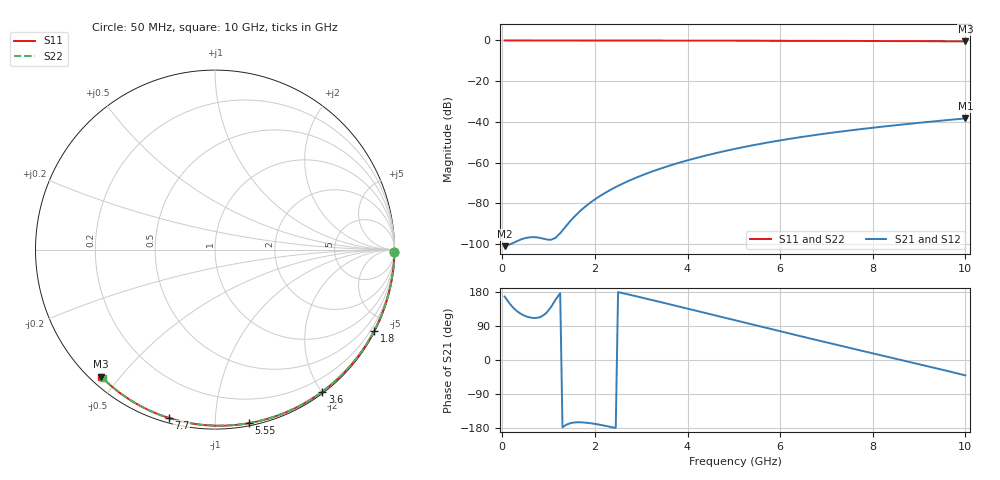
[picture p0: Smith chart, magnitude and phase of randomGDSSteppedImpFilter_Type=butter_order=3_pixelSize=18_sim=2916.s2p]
! freq	dB(S11)	phase(S11)	dB(S12)	phase(S12)
!  dB(S21)	phase(S21)	dB(S22)	phase(S22)
!S-par simulation data
#  GHz  S  DB  R 50
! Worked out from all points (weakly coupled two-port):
!   200 points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, 50 MHz to 10 GHz, reference 50 ohm
!   highest |S21| = -38.29 dB at 10 GHz (marker M1); lowest = -101.0 dB at 50 MHz (marker M2)
!   lowest |S11| = -0.4 dB at 10 GHz (marker M3), VSWR 39.29, Z = 1.53 - j22.3 ohm
!   |S11| at or under -10 dB: nowhere
!   |S22| runs from -0.4 to 0.0 dB; largest |S21 - S12| = 0
!   S11 on the Smith chart (normalised r, x): 50 MHz: open; 1.8 GHz: 0.04, -4.16; 3.6 GHz: 0.02, -2.01; 5.55 GHz: 0.02, -1.21; 7.7 GHz: 0.02, -0.76; 10 GHz: 0.03, -0.45
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0.05  -0.00 -0.8  -100.99 167.5  -100.99 167.5  -0.00 -0.8
0.9  -0.02 -13.6  -97.40 119.1  -97.40 119.1  -0.02 -13.5
1.75  -0.03 -26.3  -82.36 -164.8  -82.36 -164.8  -0.03 -26.1
1.8  -0.03 -27.0  -81.41 -165.3  -81.41 -165.3  -0.03 -26.9
1.85  -0.04 -27.8  -80.51 -166.0  -80.51 -166.0  -0.04 -27.6
1.9  -0.04 -28.5  -79.65 -166.7  -79.65 -166.7  -0.04 -28.3
2.05  -0.04 -30.7  -77.25 -169.6  -77.25 -169.6  -0.04 -30.5
2.25  -0.04 -33.6  -74.43 -174.3  -74.43 -174.3  -0.04 -33.4
2.45  -0.05 -36.5  -71.96 -179.5  -71.96 -179.5  -0.05 -36.3
2.65  -0.05 -39.4  -69.74 175.1  -69.74 175.1  -0.05 -39.2
3  -0.06 -44.4  -66.35 165.1  -66.35 165.1  -0.06 -44.1
3.4  -0.07 -50.1  -63.03 153.4  -63.03 153.4  -0.07 -49.7
3.6  -0.07 -52.9  -61.54 147.5  -61.54 147.5  -0.07 -52.5
4.3  -0.09 -62.5  -57.04 126.6  -57.04 126.6  -0.09 -62.1
5.05  -0.11 -72.5  -53.09 104.2  -53.09 104.2  -0.11 -72.0
5.55  -0.13 -79.0  -50.85 89.3  -50.85 89.3  -0.13 -78.4
6.1  -0.15 -85.9  -48.68 72.9  -48.68 72.9  -0.15 -85.4
6.7  -0.18 -93.4  -46.59 55.2  -46.59 55.2  -0.18 -92.8
7.7  -0.24 -105.4  -43.64 26.2  -43.64 26.2  -0.24 -104.8
8.35  -0.29 -113.0  -41.97 7.7  -41.97 7.7  -0.29 -112.3
9.15  -0.36 -122.3  -40.09 -15.3  -40.09 -15.3  -0.36 -121.5
10  -0.44 -131.9  -38.29 -40.7  -38.29 -40.7  -0.44 -131.1
